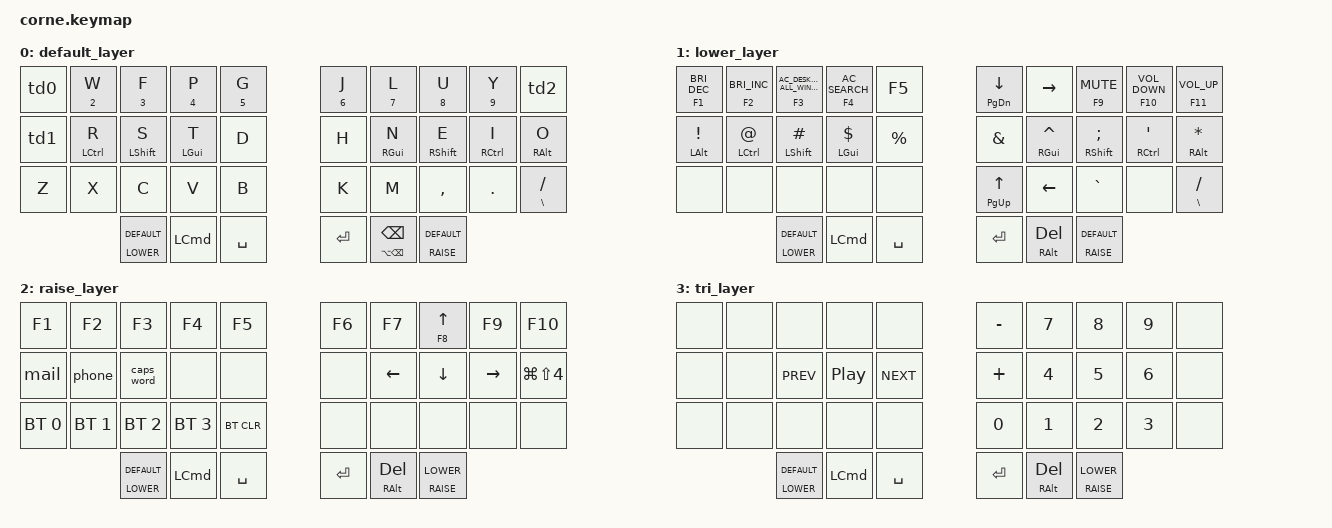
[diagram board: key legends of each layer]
#include <behaviors.dtsi>
#include <dt-bindings/zmk/mouse.h>
#include <dt-bindings/zmk/bt.h>
#include <dt-bindings/zmk/keys.h>

#define DEFAULT 0
#define LOWER 1
#define RAISE 2

// Media controls
#define VOL_DOWN C_VOLUME_DOWN
#define VOL_UP C_VOLUME_UP
#define VOL_MUTE K_MUTE
#define PREV C_PREVIOUS
#define PLAY C_PLAY_PAUSE
#define NEXT C_NEXT

// Display controls
#define BRIGHT C_BRIGHTNESS_INC
#define DARK C_BRIGHTNESS_DEC

// Window controls
#define APPS C_AC_DESKTOP_SHOW_ALL_WINDOWS
#define SEARCH C_AC_SEARCH


/*
 * Caps Word
 *
 * https://zmk.dev/docs/keymaps/behaviors/caps-word
 */
&caps_word {
    continue-list = <
      UNDERSCORE MINUS
      LCTRL LALT LGUI LSHFT
      RCTRL RALT RGUI RSHFT
      BACKSPACE
    >;

    /delete-property/ ignore-modifiers;
};


/* 
 * ╭─────────────────────────┬────────────────────────╮
 * │  0   1   2   3   4      │      5   6   7   8   9 │
 * │ 10  11  12  13  14      │     15  16  17  18  19 │
 * │ 20  21  22  23  24      │     25  26  27  28  29 │
 * ╰───────────╮ 30  31  32  │ 33  34  35 ╭───────────╯
 *             ╰─────────────┴────────────╯
 */

/ {
    chosen {
      zmk,matrix_transform = &five_column_transform;
    };
    
    behaviors {
        /*
         * Mod-Tap - change default interrupt behaviour
         *
         * https://zmk.dev/docs/keymaps/behaviors/hold-tap#interrupt-flavors
         *
         */
        mt: mod_tap {
            flavor = "tap-preferred";
        };

        /*
         * homerow mod
         *
         * https://zmk.dev/docs/keymaps/behaviors/hold-tap#custom-hold-tap-examples
         *
         * - tab:  2nd key
         * - hold: 1st key
         */
        hml: homerow_mods_left {
            compatible = "zmk,behavior-hold-tap";
            label = "HOMEROW_MODS_LEFT_HAND";
            bindings = <&kp>, <&kp>;

            #binding-cells = <2>;
            tapping-term-ms = <150>;
            quick-tap-ms = <125>;
            flavor = "balanced";
            require-prior-idle-ms = <50>;
            hold-trigger-key-positions = <5 6 7 8 9  15 16 17 18 19  25 26 27 28 29>;
            hold-trigger-on-release;
        };
        hmr: homerow_mods_right {
            compatible = "zmk,behavior-hold-tap";
            label = "HOMEROW_MODS_RIGHT_HAND";
            bindings = <&kp>, <&kp>;

            #binding-cells = <2>;
            tapping-term-ms = <150>;
            quick-tap-ms = <125>;
            require-prior-idle-ms = <50>;
            hold-trigger-key-positions = <0 1 2 3 4  10 11 12 13 14  20 21 22 23 24>;
            flavor = "balanced";
            hold-trigger-on-release;
        };

        /*
         * htl
         *
         * - tab once to MOMENTARY switch layer
         * - hold to enable layer until release
         */
        htl: hold_tab_layer {
            compatible = "zmk,behavior-hold-tap";
            label = "HOLD_TAB_LAYER";
            #binding-cells = <2>;
            tapping-term-ms = <150>;
            quick_tap_ms = <0>;
            flavor = "balanced";
            bindings = <&mo>, <&to>;
        };


        /*
         * tap-dance
         *
         * different key press on each press
         * https://zmk.dev/docs/behaviors/tap-dance
         */
        td0: tap_dance_0 {
            compatible = "zmk,behavior-tap-dance";
            #binding-cells = <0>;
            tapping-term-ms = <200>; // Default: 200ms
            bindings = <&mt N1 Q>, <&mt N1 ESC>;
        };

        td1: tap_dance_1 {
            compatible = "zmk,behavior-tap-dance";
            #binding-cells = <0>;
            tapping-term-ms = <200>; // Default: 200ms
            bindings = <&mt LALT A>, <&kp TAB>;
        };

        td2: tap_dance_2 {
            compatible = "zmk,behavior-tap-dance";
            #binding-cells = <0>;
            tapping-term-ms = <200>; // Default: 200ms
            bindings = <&mt N0 MINUS>, <&kp EQUAL>;
        };
    };

    combos {
        compatible = "zmk,combos";

        combo_brace_left {
            timeout-ms = <30>;
            key-positions = <12 13>;
            bindings = <&kp LEFT_BRACE>;
        };

        combo_bracket_left {
            timeout-ms = <30>;
            key-positions = <13 14>;
            bindings = <&kp LBKT>;
        };

        combo_bracket_right {
            timeout-ms = <30>;
            key-positions = <15 16>;
            bindings = <&kp RBKT>;
        };

        combo_brace_right {
            timeout-ms = <30>;
            key-positions = <16 17>;
            bindings = <&kp RIGHT_BRACE>;
        };

        combo_pipe {
            timeout-ms = <30>;
            key-positions = <22 23>;
            bindings = <&kp PIPE>;
        };

        combo_parenthesis_left {
            timeout-ms = <30>;
            key-positions = <23 24>;
            bindings = <&kp LEFT_PARENTHESIS>;
        };

        combo_parenthesis_right {
            timeout-ms = <30>;
            key-positions = <25 26>;
            bindings = <&kp RIGHT_PARENTHESIS>;
        };
    };

    conditional_layers {
        compatible = "zmk,conditional-layers";
        tri_layer {
            if-layers = <1 2>;
            then-layer = <3>;
        };
    };

    macros {
        mail: mail {
            compatible = "zmk,behavior-macro";
            label = "macro_mail";
            #binding-cells = <0>;
            wait-ms = <0>; // default: 15ms  Delay between each binging
            tap-ms = <30>; // default: 30ms  How long each binding will be held
            bindings
                = <&macro_tap &kp B &kp E &kp N &kp J &kp A &kp M &kp I &kp N> 
                , <&macro_tap &kp AT>
                , <&macro_tap &kp S &kp T>
                , <&macro_press &kp LALT>
                , <&macro_tap &kp U>
                , <&macro_release &kp LALT>
                , <&macro_tap &kp U &kp R &kp M &kp E &kp R &kp PERIOD &kp P &kp R &kp O>
                ;
        };
        phone: phone {
            compatible = "zmk,behavior-macro";
            label = "macro_phone";
            #binding-cells = <0>;
            wait-ms = <5>; // default: 15ms  Delay between each binging
            tap-ms = <30>; // default: 30ms  How long each binding will be held
            bindings
                = <&macro_tap &kp N0 &kp N1 &kp N6 &kp N2 &kp N4 &kp N5 &kp N3 &kp N4 &kp N0 &kp N4 &kp N3> 
                ;
        };
    };

    // cheat-sheet https://peccu.github.io/zmk-cheat-sheet/
    keymap {
        compatible = "zmk,keymap";

        default_layer {
            bindings = <
                &td0            &mt N2 W        &mt N3 F            &mt N4 P        &mt N5 G        &mt N6 J        &mt N7 L            &mt N8 U            &mt N9 Y            &td2
                &td1            &hml LCTRL R    &hml LSHIFT S       &hml LGUI T     &kp D           &kp H           &hmr RGUI N         &hmr RSHIFT E       &hmr RCTRL I        &hmr RALT O
                &kp Z           &kp X           &kp C               &kp V           &kp B           &kp K           &kp M               &kp COMMA           &kp DOT             &mt BSLH FSLH
                                                                &htl LOWER DEFAULT  &kp LCMD        &kp SPACE                           &kp ENTER           &mt LA(BSPC) BSPC   &htl RAISE DEFAULT
            >;
        };

        lower_layer {
            bindings = <
                &mt F1 DARK     &mt F2 BRIGHT   &mt F3 APPS         &mt F4 SEARCH   &kp F5          &mt PG_DN DOWN  &kp RIGHT           &mt F9 VOL_MUTE     &mt F10 VOL_DOWN    &mt F11 VOL_UP
                &mt LALT EXCL   &hml LCTRL AT   &hml LSHIFT HASH    &hml LGUI DOLLAR &kp PERCENT    &kp AMPERSAND   &hmr RGUI CARET     &hmr RSHIFT SEMI    &hmr RCTRL APOS     &hmr RALT ASTERISK
                &none           &none           &none               &none           &none           &mt PG_UP UP    &kp LEFT            &kp GRAVE           &none               &mt BSLH FSLH
                                                                &htl LOWER DEFAULT  &kp LCMD        &kp SPACE                           &kp ENTER           &mt RALT DEL        &htl RAISE DEFAULT

            >;
        };

        raise_layer {
            bindings = <
                &kp F1          &kp F2          &kp F3              &kp F4          &kp F5          &kp F6          &kp F7              &mt F8 UP           &kp F9              &kp F10
                &mail           &phone          &caps_word          &none           &none           &none           &kp LEFT            &kp DOWN            &kp RIGHT           &kp LG(LS(N4))
                &bt BT_SEL 0    &bt BT_SEL 1    &bt BT_SEL 2        &bt BT_SEL 3    &bt BT_CLR      &none           &none               &none               &none               &none
                                                                &htl LOWER DEFAULT  &kp LCMD        &kp SPACE                           &kp ENTER           &mt RALT DEL        &htl RAISE LOWER
            >;
        };

        tri_layer {
            bindings = <
                &none           &none           &none               &none           &none           &kp MINUS       &kp N7              &kp N8              &kp N9              &none
                &none           &none           &kp C_PREV          &kp C_PP        &kp C_NEXT      &kp PLUS        &kp N4              &kp N5              &kp N6              &none
                &none           &none           &none               &none           &none           &kp N0          &kp N1              &kp N2              &kp N3              &none
                                                             &htl LOWER DEFAULT  &kp LCMD        &kp SPACE                              &kp ENTER           &mt RALT DEL        &htl RAISE LOWER
            >;
        };
    };
};

